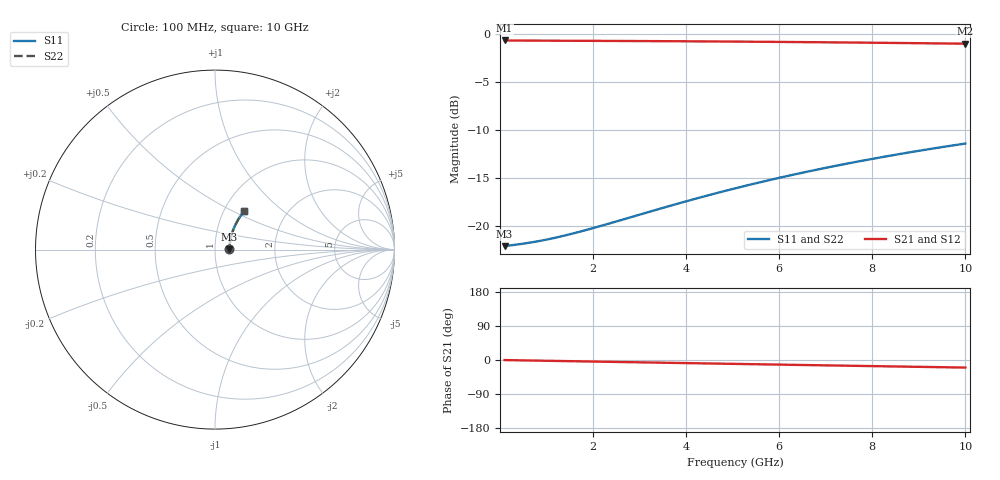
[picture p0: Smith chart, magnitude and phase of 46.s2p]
# Hz S RI R 50.00
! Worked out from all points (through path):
!   100 points, 100 MHz to 10 GHz, reference 50 ohm
!   highest |S21| = -0.71 dB at 100 MHz (marker M1); lowest = -1.0 dB at 10 GHz (marker M2)
!   group delay of S21, straight-line fit = 5.56 ps
!   lowest |S11| = -22.1 dB at 100 MHz (marker M3), VSWR 1.17, Z = 58.5 + j0.283 ohm
!   |S11| at or under -10 dB: start of sweep to end of sweep
!   |S22| runs from -22.1 to -11.4 dB; largest |S21 - S12| = 0
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1e8  0.0782 0.0024  0.9218 -0.0033  0.9218 -0.0033  0.0782 0.0024
6e8  0.08 0.0144  0.9199 -0.0197  0.9199 -0.0197  0.08 0.0144
9e8  0.0809 0.0215  0.919 -0.0296  0.919 -0.0296  0.0809 0.0215
1.1e9  0.0815 0.0262  0.9184 -0.0361  0.9184 -0.0361  0.0815 0.0262
1.3e9  0.0822 0.031  0.9177 -0.0427  0.9177 -0.0427  0.0822 0.031
1.5e9  0.0829 0.0357  0.917 -0.0492  0.917 -0.0492  0.0829 0.0357
1.8e9  0.084 0.0428  0.9159 -0.0589  0.9159 -0.0589  0.084 0.0428
2.3e9  0.0861 0.0545  0.9137 -0.0751  0.9137 -0.0751  0.0861 0.0545
3.4e9  0.092 0.0798  0.9075 -0.1104  0.9075 -0.1104  0.092 0.0798
3.9e9  0.0953 0.0912  0.904 -0.1262  0.904 -0.1262  0.0953 0.0912
4.3e9  0.0982 0.1001  0.901 -0.1388  0.901 -0.1388  0.0982 0.1001
4.7e9  0.1013 0.109  0.8977 -0.1512  0.8977 -0.1512  0.1013 0.109
5.1e9  0.1047 0.1177  0.8942 -0.1636  0.8942 -0.1636  0.1047 0.1177
5.5e9  0.1082 0.1263  0.8904 -0.1758  0.8904 -0.1758  0.1082 0.1263
5.9e9  0.112 0.1348  0.8864 -0.1879  0.8864 -0.1879  0.112 0.1348
6.3e9  0.1161 0.1431  0.8822 -0.1998  0.8822 -0.1998  0.1161 0.1431
6.7e9  0.1203 0.1513  0.8778 -0.2116  0.8778 -0.2116  0.1203 0.1513
7.5e9  0.1294 0.1673  0.8682 -0.2348  0.8682 -0.2348  0.1294 0.1673
7.9e9  0.1342 0.175  0.8631 -0.2462  0.8631 -0.2462  0.1342 0.175
8.4e9  0.1406 0.1844  0.8564 -0.2601  0.8564 -0.2601  0.1406 0.1844
9.2e9  0.1512 0.199  0.8451 -0.2819  0.8451 -0.2819  0.1512 0.199
1e10  0.1626 0.2128  0.8331 -0.303  0.8331 -0.303  0.1626 0.2128
